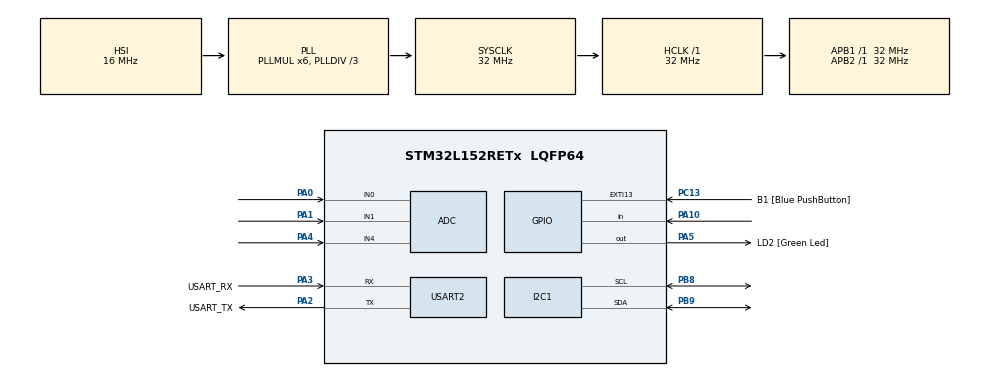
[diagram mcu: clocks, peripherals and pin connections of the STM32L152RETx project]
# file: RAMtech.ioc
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ADC.Channel-0\#ChannelRegularConversion=ADC_CHANNEL_0
ADC.NbrOfConversionFlag=1
ADC.Rank-0\#ChannelRegularConversion=1
ADC.SamplingTime-0\#ChannelRegularConversion=ADC_SAMPLETIME_4CYCLES
Mcu.Family=STM32L1
Mcu.Name=STM32L152RETx
Mcu.Package=LQFP64
NVIC.PriorityGroup=NVIC_PRIORITYGROUP_0
PA0-WKUP1.Mode=IN0
PA0-WKUP1.Signal=ADC_IN0
PA1.Mode=IN1
PA1.Signal=ADC_IN1
PA10.Signal=GPIO_Input
PA13.GPIO_Label=TMS
PA13.Mode=Serial_Wire
PA13.Signal=SYS_JTMS-SWDIO
PA14.GPIO_Label=TCK
PA14.Mode=Serial_Wire
PA14.Signal=SYS_JTCK-SWCLK
PA2.GPIO_Label=USART_TX
PA2.Mode=Asynchronous
PA2.Signal=USART2_TX
PA3.GPIO_Label=USART_RX
PA3.Mode=Asynchronous
PA3.Signal=USART2_RX
PA4.Mode=IN4
PA4.Signal=ADC_IN4
PA5.GPIO_Label=LD2 [Green Led]
PA5.Signal=GPIO_Output
PB3.GPIO_Label=SWO
PB3.Signal=SYS_JTDO-TRACESWO
PB8.Mode=I2C
PB8.Signal=I2C1_SCL
PB9.Mode=I2C
PB9.Signal=I2C1_SDA
PC13-WKUP2.GPIO_Label=B1 [Blue PushButton]
PC13-WKUP2.Signal=GPXTI13
PC14-OSC32_IN.Mode=LSE-External-Oscillator
PC14-OSC32_IN.Signal=RCC_OSC32_IN
PC15-OSC32_OUT.Mode=LSE-External-Oscillator
PC15-OSC32_OUT.Signal=RCC_OSC32_OUT
PH0-OSC_IN.Mode=HSE-External-Clock-Source
PH0-OSC_IN.Signal=RCC_OSC_IN
PH1-OSC_OUT.Signal=RCC_OSC_OUT
ProjectManager.HeapSize=0x200
ProjectManager.StackSize=0x400
ProjectManager.TargetToolchain=STM32CubeIDE
RCC.48MHZClocksFreq_Value=48000000
RCC.AHBFreq_Value=32000000
RCC.APB1Freq_Value=32000000
RCC.APB1TimFreq_Value=32000000
RCC.APB2Freq_Value=32000000
RCC.APB2TimFreq_Value=32000000
RCC.HCLKFreq_Value=32000000
RCC.HSE_VALUE=8000000
RCC.HSI_VALUE=16000000
RCC.MSI_VALUE=2097000
RCC.PLLDIV=RCC_PLL_DIV3
RCC.PLLMUL=RCC_PLL_MUL6
RCC.RTCClockSelectionVirtual=RCC_RTCCLKSOURCE_LSE
RCC.SYSCLKFreq_VALUE=32000000
RCC.SYSCLKSource=RCC_SYSCLKSOURCE_PLLCLK
RCC.USBOutput=48000000
RCC.VCOOutputFreq_Value=96000000
USART2.VirtualMode=VM_ASYNC
VP_TIM2_VS_ClockSourceINT.Mode=Internal
board=NUCLEO-L152RE

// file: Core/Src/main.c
/* USER CODE BEGIN Header */
/**
  ******************************************************************************
  * @file           : main.c
  * @brief          : Main program body
  ******************************************************************************
  * @attention
  *
  * Copyright (c) 2025 STMicroelectronics.
  * All rights reserved.
  *
  * This software is licensed under terms that can be found in the LICENSE file
  * in the root directory of this software component.
  * If no LICENSE file comes with this software, it is provided AS-IS.
  *
  ******************************************************************************
  */
/* USER CODE END Header */
#include "main.h"

/* USER CODE BEGIN Includes */
#include "button_input.h"
#include "lcd_i2c.h"
#include "accelerometer.h"
#include "rtd_sensor.h"
#include "tilt.h"
#include "custom_chars.h"
#include "signal_input.h"
#include "thermo_sensor.h"
/* USER CODE END Includes */

/* USER CODE BEGIN PTD */
typedef enum {
    MENU_MAIN,
    MENU_SENSOR_RTD,
    MENU_SIGNAL_INPUT
} MenuState;
/* USER CODE END PTD */

/* USER CODE BEGIN PD */
#define REG_MODE1 0x00
#define REG_MODE2 0x01
#define REG_PWM0  0x02  // Red
#define REG_PWM1  0x03  // Green
#define REG_PWM2  0x04  // Blue
#define REG_GRPPWM 0x06
#define REG_LEDOUT 0x08
/* USER CODE END PD */

ADC_HandleTypeDef hadc;

I2C_HandleTypeDef hi2c1;

TIM_HandleTypeDef htim2;

UART_HandleTypeDef huart2;

void SystemClock_Config(void);
static void MX_GPIO_Init(void);
static void MX_USART2_UART_Init(void);
static void MX_ADC_Init(void);
static void MX_I2C1_Init(void);
static void MX_TIM2_Init(void);

int main(void)
{

  /* MCU Configuration--------------------------------------------------------*/

  /* Reset of all peripherals, Initializes the Flash interface and the Systick. */
  HAL_Init();

  /* Configure the system clock */
  SystemClock_Config();

  /* Initialize all configured peripherals */
  MX_GPIO_Init();
  MX_USART2_UART_Init();
  MX_ADC_Init();
  MX_I2C1_Init();
  MX_TIM2_Init();
  /* USER CODE BEGIN 2 */
   RGB_LCD_HandleTypeDef lcd;
   lcd.hi2c = &hi2c1;
   lcd.rgb_addr = 0x62 << 1; // RGB controller address (8-bit)
   lcd.cols = 16;
   lcd.rows = 2;

   // Initialize LCD
   RGB_LCD_Init(&lcd);
   ADC_ButtonInit();
   tilt_init();
   signal_input_init();

   // Set a color for the backlight
   RGB_LCD_SetRGB(&lcd, 0, 128, 255); // Light blue
   RGB_LCD_Clear(&lcd);

   //MenuState currentMenu = MENU_MAIN;
   MenuState currentMenu = MENU_SENSOR_RTD;
   Button last_click = NONE;
   float t_temp;
   float freq;
   bool flip;
  /* USER CODE END 2 */

  /* Infinite loop */
  while (1)
  {

    /* USER CODE BEGIN 3 */
  	  //!!last_click = GetButton();
  	  //flip = detect_tilt();
  	  flip = false;

  			switch (currentMenu) {
  				case MENU_MAIN:
  					RGB_LCD_Clear(&lcd);

  					if (flip == false){
  						RGB_LCD_SetCursor(&lcd, 0, 0);
  						RGB_LCD_Print(&lcd, "MAIN MENU");
  					}
  					else if(flip == true){
  						// flip text

  					}

  					if (last_click == BUTTON_UP) currentMenu = MENU_SENSOR_RTD;
  					if (last_click == BUTTON_DOWN) currentMenu = MENU_SIGNAL_INPUT;
  					break;

  				case MENU_SENSOR_RTD: {
  					t_temp = thermo_read_temperature_f();
  					RGB_LCD_Clear(&lcd);

  					if (flip == false){
  						RGB_LCD_SetCursor(&lcd, 0, 0);
  						RGB_LCD_Printf(&lcd, "TEMP: %.0f F", t_temp);
  						RGB_LCD_SetCursor(&lcd, 0, 1);
  						RGB_LCD_Print(&lcd,"HIT LEFT TO EXIT");
  					}
  					else if(flip == true){
  						// flip text

  					}

  					if (last_click == BUTTON_LEFT) currentMenu = MENU_MAIN;
  					break;
  				}

  				case MENU_SIGNAL_INPUT: {
  					freq = signal_input_measure_frequency();
  					RGB_LCD_Clear(&lcd);
  					if (flip == false){
  						RGB_LCD_SetCursor(&lcd, 0, 0);
  						RGB_LCD_Printf(&lcd, "FREQ: %.0f Hz", freq);
  						RGB_LCD_SetCursor(&lcd, 0, 1);
  						RGB_LCD_Print(&lcd,"HIT LEFT TO EXIT");
  					}
  					else if(flip == true){
  						// flip text
  					}

  					if (last_click == BUTTON_LEFT) currentMenu = MENU_MAIN;
  					break;
  				}
  			}
  			HAL_Delay(100);
  }
  /* USER CODE END 3 */
}

void SystemClock_Config(void)
{
  RCC_OscInitTypeDef RCC_OscInitStruct = {0};
  RCC_ClkInitTypeDef RCC_ClkInitStruct = {0};

  /** Configure the main internal regulator output voltage
  */
  __HAL_PWR_VOLTAGESCALING_CONFIG(PWR_REGULATOR_VOLTAGE_SCALE1);

  /** Initializes the RCC Oscillators according to the specified parameters
  * in the RCC_OscInitTypeDef structure.
  */
  RCC_OscInitStruct.OscillatorType = RCC_OSCILLATORTYPE_HSI;
  RCC_OscInitStruct.HSIState = RCC_HSI_ON;
  RCC_OscInitStruct.HSICalibrationValue = RCC_HSICALIBRATION_DEFAULT;
  RCC_OscInitStruct.PLL.PLLState = RCC_PLL_ON;
  RCC_OscInitStruct.PLL.PLLSource = RCC_PLLSOURCE_HSI;
  RCC_OscInitStruct.PLL.PLLMUL = RCC_PLL_MUL6;
  RCC_OscInitStruct.PLL.PLLDIV = RCC_PLL_DIV3;
  if (HAL_RCC_OscConfig(&RCC_OscInitStruct) != HAL_OK)
  {
    Error_Handler();
  }

  /** Initializes the CPU, AHB and APB buses clocks
  */
  RCC_ClkInitStruct.ClockType = RCC_CLOCKTYPE_HCLK|RCC_CLOCKTYPE_SYSCLK
                              |RCC_CLOCKTYPE_PCLK1|RCC_CLOCKTYPE_PCLK2;
  RCC_ClkInitStruct.SYSCLKSource = RCC_SYSCLKSOURCE_PLLCLK;
  RCC_ClkInitStruct.AHBCLKDivider = RCC_SYSCLK_DIV1;
  RCC_ClkInitStruct.APB1CLKDivider = RCC_HCLK_DIV1;
  RCC_ClkInitStruct.APB2CLKDivider = RCC_HCLK_DIV1;

  if (HAL_RCC_ClockConfig(&RCC_ClkInitStruct, FLASH_LATENCY_1) != HAL_OK)
  {
    Error_Handler();
  }
}

static void MX_ADC_Init(void)
{

  ADC_ChannelConfTypeDef sConfig = {0};

  /** Configure the global features of the ADC (Clock, Resolution, Data Alignment and number of conversion)
  */
  hadc.Instance = ADC1;
  hadc.Init.ClockPrescaler = ADC_CLOCK_ASYNC_DIV1;
  hadc.Init.Resolution = ADC_RESOLUTION_12B;
  hadc.Init.DataAlign = ADC_DATAALIGN_RIGHT;
  hadc.Init.ScanConvMode = ADC_SCAN_DISABLE;
  hadc.Init.EOCSelection = ADC_EOC_SEQ_CONV;
  hadc.Init.LowPowerAutoWait = ADC_AUTOWAIT_DISABLE;
  hadc.Init.LowPowerAutoPowerOff = ADC_AUTOPOWEROFF_DISABLE;
  hadc.Init.ChannelsBank = ADC_CHANNELS_BANK_A;
  hadc.Init.ContinuousConvMode = DISABLE;
  hadc.Init.NbrOfConversion = 1;
  hadc.Init.DiscontinuousConvMode = DISABLE;
  hadc.Init.ExternalTrigConv = ADC_SOFTWARE_START;
  hadc.Init.ExternalTrigConvEdge = ADC_EXTERNALTRIGCONVEDGE_NONE;
  hadc.Init.DMAContinuousRequests = DISABLE;
  if (HAL_ADC_Init(&hadc) != HAL_OK)
  {
    Error_Handler();
  }

  /** Configure for the selected ADC regular channel its corresponding rank in the sequencer and its sample time.
  */
  sConfig.Channel = ADC_CHANNEL_0;
  sConfig.Rank = ADC_REGULAR_RANK_1;
  sConfig.SamplingTime = ADC_SAMPLETIME_4CYCLES;
  if (HAL_ADC_ConfigChannel(&hadc, &sConfig) != HAL_OK)
  {
    Error_Handler();
  }

}

static void MX_I2C1_Init(void)
{

  hi2c1.Instance = I2C1;
  hi2c1.Init.ClockSpeed = 100000;
  hi2c1.Init.DutyCycle = I2C_DUTYCYCLE_2;
  hi2c1.Init.OwnAddress1 = 0;
  hi2c1.Init.AddressingMode = I2C_ADDRESSINGMODE_7BIT;
  hi2c1.Init.DualAddressMode = I2C_DUALADDRESS_DISABLE;
  hi2c1.Init.OwnAddress2 = 0;
  hi2c1.Init.GeneralCallMode = I2C_GENERALCALL_DISABLE;
  hi2c1.Init.NoStretchMode = I2C_NOSTRETCH_DISABLE;
  if (HAL_I2C_Init(&hi2c1) != HAL_OK)
  {
    Error_Handler();
  }

}

static void MX_TIM2_Init(void)
{

  TIM_ClockConfigTypeDef sClockSourceConfig = {0};
  TIM_MasterConfigTypeDef sMasterConfig = {0};

  htim2.Instance = TIM2;
  htim2.Init.Prescaler = 0;
  htim2.Init.CounterMode = TIM_COUNTERMODE_UP;
  htim2.Init.Period = 65535;
  htim2.Init.ClockDivision = TIM_CLOCKDIVISION_DIV1;
  htim2.Init.AutoReloadPreload = TIM_AUTORELOAD_PRELOAD_DISABLE;
  if (HAL_TIM_Base_Init(&htim2) != HAL_OK)
  {
    Error_Handler();
  }
  sClockSourceConfig.ClockSource = TIM_CLOCKSOURCE_INTERNAL;
  if (HAL_TIM_ConfigClockSource(&htim2, &sClockSourceConfig) != HAL_OK)
  {
    Error_Handler();
  }
  sMasterConfig.MasterOutputTrigger = TIM_TRGO_RESET;
  sMasterConfig.MasterSlaveMode = TIM_MASTERSLAVEMODE_DISABLE;
  if (HAL_TIMEx_MasterConfigSynchronization(&htim2, &sMasterConfig) != HAL_OK)
  {
    Error_Handler();
  }

}

static void MX_USART2_UART_Init(void)
{

  huart2.Instance = USART2;
  huart2.Init.BaudRate = 115200;
  huart2.Init.WordLength = UART_WORDLENGTH_8B;
  huart2.Init.StopBits = UART_STOPBITS_1;
  huart2.Init.Parity = UART_PARITY_NONE;
  huart2.Init.Mode = UART_MODE_TX_RX;
  huart2.Init.HwFlowCtl = UART_HWCONTROL_NONE;
  huart2.Init.OverSampling = UART_OVERSAMPLING_16;
  if (HAL_UART_Init(&huart2) != HAL_OK)
  {
    Error_Handler();
  }

}

static void MX_GPIO_Init(void)
{
  GPIO_InitTypeDef GPIO_InitStruct = {0};

  /* GPIO Ports Clock Enable */
  __HAL_RCC_GPIOC_CLK_ENABLE();
  __HAL_RCC_GPIOH_CLK_ENABLE();
  __HAL_RCC_GPIOA_CLK_ENABLE();
  __HAL_RCC_GPIOB_CLK_ENABLE();

  /*Configure GPIO pin Output Level */
  HAL_GPIO_WritePin(LD2_GPIO_Port, LD2_Pin, GPIO_PIN_RESET);

  /*Configure GPIO pin : B1_Pin */
  GPIO_InitStruct.Pin = B1_Pin;
  GPIO_InitStruct.Mode = GPIO_MODE_IT_RISING;
  GPIO_InitStruct.Pull = GPIO_NOPULL;
  HAL_GPIO_Init(B1_GPIO_Port, &GPIO_InitStruct);

  /*Configure GPIO pin : LD2_Pin */
  GPIO_InitStruct.Pin = LD2_Pin;
  GPIO_InitStruct.Mode = GPIO_MODE_OUTPUT_PP;
  GPIO_InitStruct.Pull = GPIO_NOPULL;
  GPIO_InitStruct.Speed = GPIO_SPEED_FREQ_LOW;
  HAL_GPIO_Init(LD2_GPIO_Port, &GPIO_InitStruct);

  /*Configure GPIO pin : PA10 */
  GPIO_InitStruct.Pin = GPIO_PIN_10;
  GPIO_InitStruct.Mode = GPIO_MODE_INPUT;
  GPIO_InitStruct.Pull = GPIO_NOPULL;
  HAL_GPIO_Init(GPIOA, &GPIO_InitStruct);

}

void Error_Handler(void)
{
  __disable_irq();
  while (1)
  {
  }
}
